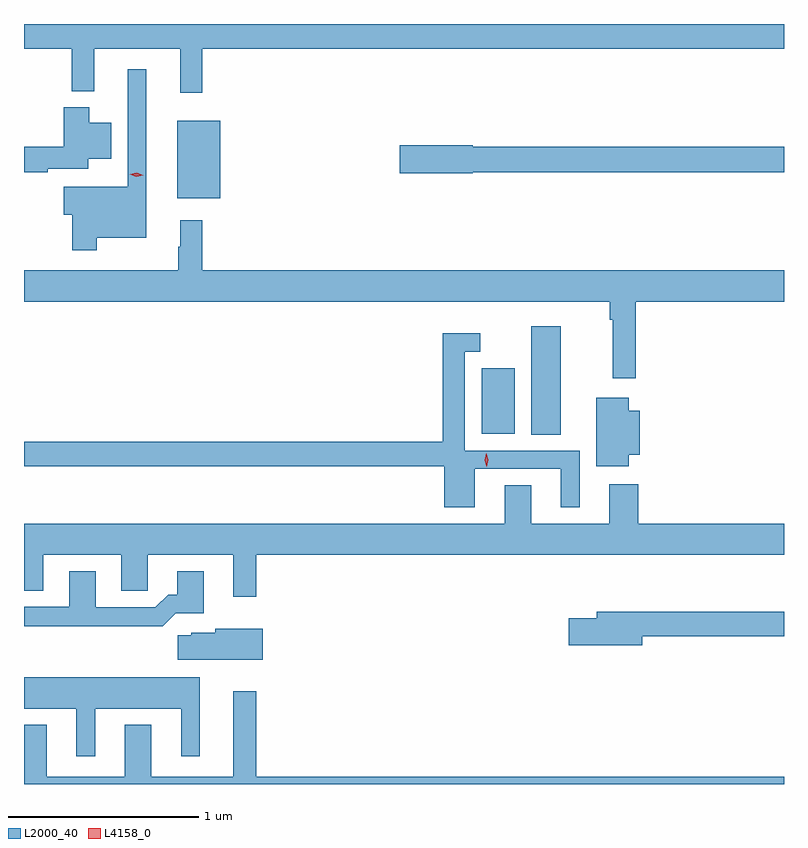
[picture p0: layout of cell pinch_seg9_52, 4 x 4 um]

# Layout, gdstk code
import gdstk
lib = gdstk.Library(unit=1e-6, precision=1e-09)
def R(c, l, rs):  # rectangles x0, y0, x1, y1
    for r in rs: c.add(gdstk.rectangle(r[:2], r[2:], *l))
def P(c, l, *ps):  # polygons
    for p in ps: c.add(gdstk.Polygon(p, *l))
L2000_40 = (2000, 40)
L4158_0 = (4158, 0)

pinch_seg9_52 = lib.new_cell('pinch_seg9_52')
R(pinch_seg9_52, L2000_40, [(916.388,1187.728,916.543,1188.298), (916.127,1187.732,916.3,1188.076), (914.525,1188.971,914.752,1189.381)])
P(pinch_seg9_52, L2000_40, [(914.657,1189.76),(917.718,1189.76),(917.718,1189.889),(913.718,1189.889),(913.718,1189.76),(913.969,1189.76),(913.969,1189.535),(914.087,1189.535),(914.087,1189.76),(914.54,1189.76),(914.54,1189.527),(914.657,1189.527)],
  [(914.101,1188.764),(914.362,1188.764),(914.362,1189.651),(914.265,1189.651),(914.265,1189.033),(913.928,1189.033),(913.928,1188.886),(913.972,1188.886),(913.972,1188.699),(914.101,1188.699)],
  [(913.844,1189.128),(914.056,1189.128),(914.056,1189.181),(914.176,1189.181),(914.176,1189.369),(914.062,1189.369),(914.062,1189.45),(913.928,1189.45),(913.928,1189.244),(913.718,1189.244),(913.718,1189.108),(913.844,1189.108)],
  [(916.08,1189.108),(917.718,1189.108),(917.718,1189.244),(916.08,1189.244),(916.08,1189.25),(915.696,1189.25),(915.696,1189.103),(916.08,1189.103)],
  [(916.937,1188.428),(917.718,1188.428),(917.718,1188.592),(914.657,1188.592),(914.657,1188.856),(914.54,1188.856),(914.54,1188.716),(914.529,1188.716),(914.529,1188.592),(913.718,1188.592),(913.718,1188.428),(916.801,1188.428),(916.801,1188.332),(916.816,1188.332),(916.816,1188.024),(916.937,1188.024)],
  [(916.09,1187.547),(916.544,1187.547),(916.544,1187.346),(916.642,1187.346),(916.642,1187.643),(916.038,1187.643),(916.038,1188.165),(916.12,1188.165),(916.12,1188.262),(915.922,1188.262),(915.922,1187.69),(913.718,1187.69),(913.718,1187.562),(915.929,1187.562),(915.929,1187.346),(916.09,1187.346)],
  [(916.901,1187.621),(916.96,1187.621),(916.96,1187.854),(916.901,1187.854),(916.901,1187.923),(916.73,1187.923),(916.73,1187.562),(916.901,1187.562)],
  [(914.941,1187.096),(917.718,1187.096),(917.718,1187.26),(916.952,1187.26),(916.952,1187.467),(916.799,1187.467),(916.799,1187.26),(916.387,1187.26),(916.387,1187.462),(916.247,1187.462),(916.247,1187.26),(913.718,1187.26),(913.718,1186.906),(913.819,1186.906),(913.819,1187.096),(914.231,1187.096),(914.231,1186.906),(914.37,1186.906),(914.37,1187.096),(914.819,1187.096),(914.819,1186.875),(914.941,1186.875)],
  [(914.517,1186.788),(914.665,1186.788),(914.665,1187.008),(914.525,1187.008),(914.525,1186.885),(914.476,1186.885),(914.409,1186.818),(914.095,1186.818),(914.095,1187.008),(913.955,1187.008),(913.955,1186.821),(913.718,1186.821),(913.718,1186.72),(914.191,1186.72),(914.191,1186.718),(914.447,1186.718)],
  [(916.972,1186.666),(917.718,1186.666),(917.718,1186.795),(916.733,1186.795),(916.733,1186.761),(916.584,1186.761),(916.584,1186.619),(916.972,1186.619)],
  [(914.974,1186.705),(914.724,1186.705),(914.724,1186.684),(914.598,1186.684),(914.598,1186.673),(914.526,1186.673),(914.526,1186.544),(914.974,1186.544)],
  [(914.092,1186.286),(914.546,1186.286),(914.546,1186.035),(914.644,1186.035),(914.644,1186.45),(913.718,1186.45),(913.718,1186.286),(913.994,1186.286),(913.994,1186.035),(914.092,1186.035)],
  [(917.718,1185.928),(914.941,1185.928),(914.941,1186.378),(914.819,1186.378),(914.819,1185.928),(914.389,1185.928),(914.389,1186.201),(914.249,1186.201),(914.249,1185.928),(913.837,1185.928),(913.837,1186.201),(913.718,1186.201),(913.718,1185.889),(917.718,1185.889)])
P(pinch_seg9_52, L4158_0, [(916.153,1187.559),(916.153,1187.559),(916.142,1187.594),(916.15,1187.63),(916.15,1187.631),(916.15,1187.63),(916.162,1187.595),(916.153,1187.559)],
  [(914.31,1189.085),(914.275,1189.097),(914.275,1189.097),(914.275,1189.097),(914.311,1189.105),(914.346,1189.094),(914.346,1189.094),(914.346,1189.094)])

lib.write_gds('pinch_seg9_52.gds')
